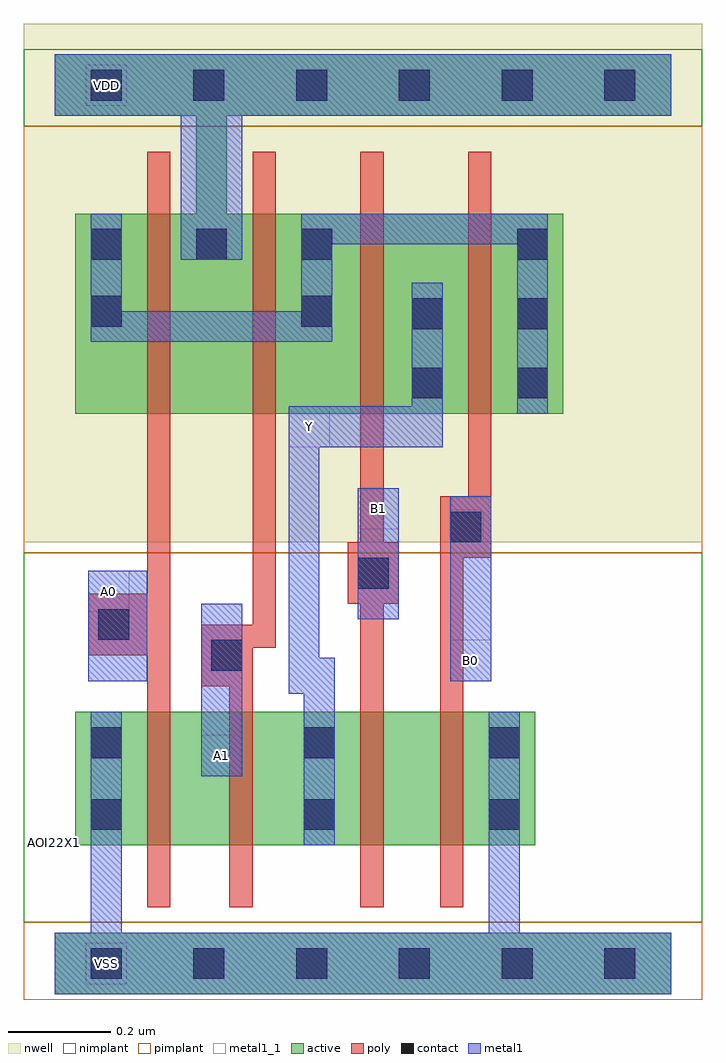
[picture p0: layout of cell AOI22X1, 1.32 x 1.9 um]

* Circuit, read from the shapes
.subckt AOI22X1 A0 A1 B0 B1 VDD VSS Y
M1 n1 A0 VSS VSS nfet w=0.26u l=0.045u
M2 Y A1 n1 VSS nfet w=0.26u l=0.045u
M3 n2 B1 Y VSS nfet w=0.26u l=0.045u
M4 VSS B0 n2 VSS nfet w=0.26u l=0.045u
M5 VDD A0 n3 VDD pfet w=0.39u l=0.045u
M6 n3 A1 VDD VDD pfet w=0.39u l=0.045u
M7 Y B1 n3 VDD pfet w=0.39u l=0.045u
M8 n3 B0 Y VDD pfet w=0.39u l=0.045u
.ends

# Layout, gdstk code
import gdstk
lib = gdstk.Library(unit=1e-6, precision=5e-10)
def R(c, l, rs):  # rectangles x0, y0, x1, y1
    for r in rs: c.add(gdstk.rectangle(r[:2], r[2:], *l))
def A(c, l, x, y, w, h, nx, ny, dx, dy):  # array of equal rectangles
    R(c, l, [(x+i*dx, y+j*dy, x+i*dx+w, y+j*dy+h) for i in range(nx) for j in range(ny)])
def P(c, l, *ps):  # polygons
    for p in ps: c.add(gdstk.Polygon(p, *l))
active = (1, 0)
nwell = (2, 0)
poly = (3, 0)
nimplant = (4, 0)
pimplant = (5, 0)
contact = (6, 0)
metal1 = (7, 0)
metal1_1 = (7, 1)

aoi22x1 = lib.new_cell('AOI22X1')
R(aoi22x1, active, [(0,-0.06,1.2,0.06), (0.04,0.23,0.935,0.49)])
P(aoi22x1, active, [(1.2,1.77),(0,1.77),(0,1.65),(0.275,1.65),(0.275,1.46),(0.04,1.46),(0.04,1.07),(0.99,1.07),(0.99,1.46),(0.335,1.46),(0.335,1.65),(1.2,1.65)])
R(aoi22x1, nwell, [(-0.06,0.82,1.26,1.83)])
P(aoi22x1, poly, [(0.85,1.58),(0.805,1.58),(0.805,0.91),(0.75,0.91),(0.75,0.11),(0.795,0.11),(0.795,0.79),(0.85,0.79)],
  [(0.67,0.82),(0.64,0.82),(0.64,1.58),(0.595,1.58),(0.595,0.82),(0.57,0.82),(0.57,0.7),(0.595,0.7),(0.595,0.11),(0.64,0.11),(0.64,0.7),(0.67,0.7)],
  [(0.43,1.58),(0.385,1.58),(0.385,0.66),(0.285,0.66),(0.285,0.54),(0.34,0.54),(0.34,0.11),(0.385,0.11),(0.385,0.615),(0.43,0.615)],
  [(0.225,1.58),(0.18,1.58),(0.18,0.72),(0.065,0.72),(0.065,0.6),(0.18,0.6),(0.18,0.11),(0.225,0.11)])
R(aoi22x1, nimplant, [(-0.06,0.08,1.26,0.8), (-0.06,1.63,1.26,1.78)])
R(aoi22x1, pimplant, [(-0.06,-0.07,1.26,0.08), (-0.06,0.8,1.26,1.63)])
A(aoi22x1, contact, 0.07, -0.03, 0.06, 0.06, 6, 2, 0.2, 1.71)
A(aoi22x1, contact, 0.9, 1.1, 0.06, 0.06, 1, 3, 0, 0.135)
A(aoi22x1, contact, 0.07, 1.37, 0.06, 0.06, 3, 1, 0.205, 0)
R(aoi22x1, contact, [(0.07,0.26,0.13,0.32), (0.485,0.26,0.545,0.32), (0.845,0.26,0.905,0.32), (0.07,0.4,0.13,0.46), (0.485,0.4,0.545,0.46), (0.845,0.4,0.905,0.46), (0.305,0.57,0.365,0.63), (0.085,0.63,0.145,0.69), (0.59,0.73,0.65,0.79), (0.77,0.82,0.83,0.88), (0.695,1.1,0.755,1.16), (0.695,1.235,0.755,1.295), (0.07,1.24,0.13,1.3), (0.48,1.24,0.54,1.3)])
R(aoi22x1, metal1, [(0.285,0.365,0.365,0.7), (0.065,0.55,0.18,0.765), (0.77,0.55,0.85,0.91), (0.59,0.67,0.67,0.925)])
P(aoi22x1, metal1, [(1.2,0.06),(0.905,0.06),(0.905,0.49),(0.845,0.49),(0.845,0.06),(0.13,0.06),(0.13,0.49),(0.07,0.49),(0.07,0.06),(0,0.06),(0,-0.06),(1.2,-0.06)],
  [(1.2,1.77),(0,1.77),(0,1.65),(0.245,1.65),(0.245,1.37),(0.365,1.37),(0.365,1.65),(1.2,1.65)],
  [(0.96,1.46),(0.48,1.46),(0.48,1.27),(0.13,1.27),(0.13,1.46),(0.07,1.46),(0.07,1.21),(0.54,1.21),(0.54,1.4),(0.9,1.4),(0.9,1.07),(0.96,1.07)],
  [(0.755,1.325),(0.695,1.325),(0.695,1.085),(0.455,1.085),(0.455,0.525),(0.485,0.525),(0.485,0.23),(0.545,0.23),(0.545,0.595),(0.515,0.595),(0.515,1.005),(0.755,1.005)])
R(aoi22x1, metal1_1, [(0.06,-0.04,0.14,0.04), (0.285,0.365,0.365,0.445), (0.77,0.55,0.85,0.63), (0.065,0.685,0.145,0.765), (0.59,0.845,0.67,0.925), (0.455,1.005,0.535,1.085), (0.06,1.67,0.14,1.75)])
aoi22x1.add(gdstk.Label('Y', (0.495,1.045), layer=7, texttype=1))
aoi22x1.add(gdstk.Label('A0', (0.105,0.725), layer=7, texttype=1))
aoi22x1.add(gdstk.Label('B1', (0.63,0.885), layer=7, texttype=1))
aoi22x1.add(gdstk.Label('A1', (0.325,0.405), layer=7, texttype=1))
aoi22x1.add(gdstk.Label('VDD', (0.1,1.71), layer=7, texttype=1))
aoi22x1.add(gdstk.Label('B0', (0.81,0.59), layer=7, texttype=1))
aoi22x1.add(gdstk.Label('VSS', (0.1,0), layer=7, texttype=1))
aoi22x1.add(gdstk.Label('AOI22X1', (0,0.235), layer=63, texttype=0))

lib.write_gds('AOI22X1.gds')
